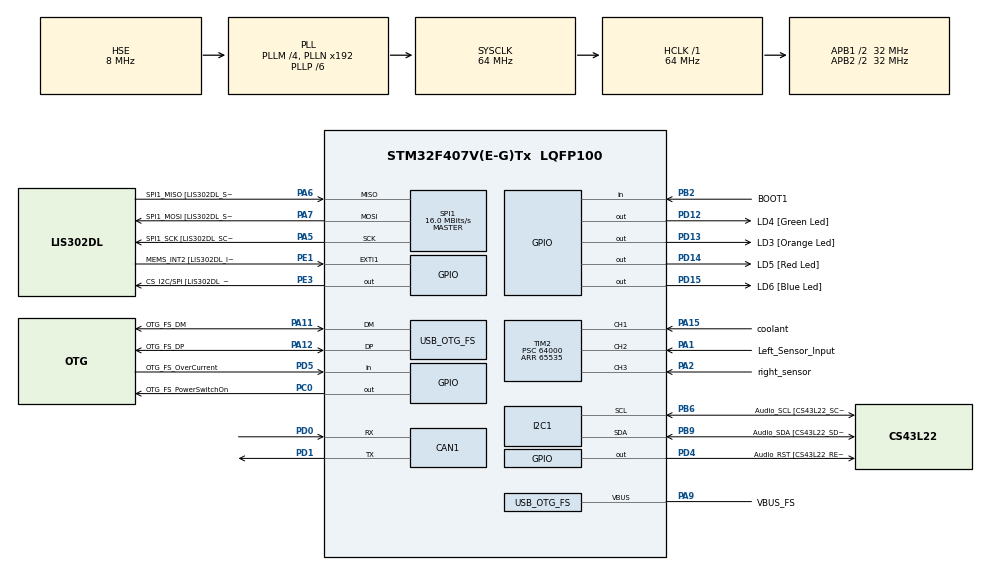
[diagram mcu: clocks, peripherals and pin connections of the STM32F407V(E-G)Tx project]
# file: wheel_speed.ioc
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CAN1.CalculateTimeQuantum=500.0
Mcu.Family=STM32F4
Mcu.Name=STM32F407V(E-G)Tx
Mcu.Package=LQFP100
NVIC.OTG_FS_IRQn=true\:0\:0\:false\:false\:true\:true
NVIC.PriorityGroup=NVIC_PRIORITYGROUP_0
NVIC.TIM2_IRQn=true\:0\:0\:false\:false\:true\:true
PA1.GPIO_Label=Left_Sensor_Input
PA1.GPIO_PuPd=GPIO_PULLUP
PA1.GPIO_Speed=GPIO_SPEED_FREQ_HIGH
PA1.Signal=S_TIM2_CH2
PA10.GPIO_Label=OTG_FS_ID
PA10.GPIO_Mode=GPIO_MODE_AF_PP
PA10.GPIO_PuPd=GPIO_NOPULL
PA10.GPIO_Speed=GPIO_SPEED_FREQ_LOW
PA10.Signal=USB_OTG_FS_ID
PA11.GPIO_Label=OTG_FS_DM
PA11.GPIO_Mode=GPIO_MODE_AF_PP
PA11.GPIO_PuPd=GPIO_NOPULL
PA11.GPIO_Speed=GPIO_SPEED_FREQ_LOW
PA11.Mode=Host_Only
PA11.Signal=USB_OTG_FS_DM
PA12.GPIO_Label=OTG_FS_DP
PA12.GPIO_Mode=GPIO_MODE_AF_PP
PA12.GPIO_PuPd=GPIO_NOPULL
PA12.GPIO_Speed=GPIO_SPEED_FREQ_LOW
PA12.Mode=Host_Only
PA12.Signal=USB_OTG_FS_DP
PA13.GPIO_Label=SWDIO
PA13.Mode=Serial_Wire
PA13.Signal=SYS_JTMS-SWDIO
PA14.GPIO_Label=SWCLK
PA14.Mode=Serial_Wire
PA14.Signal=SYS_JTCK-SWCLK
PA15.GPIO_Label=coolant
PA15.GPIO_PuPd=GPIO_PULLDOWN
PA15.GPIO_Speed=GPIO_SPEED_FREQ_HIGH
PA15.Signal=S_TIM2_CH1_ETR
PA2.GPIO_Label=right_sensor
PA2.GPIO_PuPd=GPIO_PULLUP
PA2.GPIO_Speed=GPIO_SPEED_FREQ_HIGH
PA2.Signal=S_TIM2_CH3
PA4.GPIO_Label=I2S3_WS [CS43L22_LRCK]
PA4.GPIO_Mode=GPIO_MODE_AF_PP
PA4.GPIO_PuPd=GPIO_NOPULL
PA4.GPIO_Speed=GPIO_SPEED_FREQ_LOW
PA4.Signal=I2S3_WS
PA5.GPIO_Label=SPI1_SCK [LIS302DL_SCL/SPC]
PA5.GPIO_Mode=GPIO_MODE_AF_PP
PA5.GPIO_PuPd=GPIO_NOPULL
PA5.GPIO_Speed=GPIO_SPEED_FREQ_LOW
PA5.Mode=Full_Duplex_Master
PA5.Signal=SPI1_SCK
PA6.GPIO_Label=SPI1_MISO [LIS302DL_SDO]
PA6.GPIO_Mode=GPIO_MODE_AF_PP
PA6.GPIO_PuPd=GPIO_NOPULL
PA6.GPIO_Speed=GPIO_SPEED_FREQ_LOW
PA6.Mode=Full_Duplex_Master
PA6.Signal=SPI1_MISO
PA7.GPIO_Label=SPI1_MOSI [LIS302DL_SDA/SDI/SDO]
PA7.GPIO_Mode=GPIO_MODE_AF_PP
PA7.GPIO_PuPd=GPIO_NOPULL
PA7.GPIO_Speed=GPIO_SPEED_FREQ_LOW
PA7.Mode=Full_Duplex_Master
PA7.Signal=SPI1_MOSI
PA9.GPIO_Label=VBUS_FS
PA9.GPIO_Mode=GPIO_MODE_INPUT
PA9.GPIO_PuPd=GPIO_NOPULL
PA9.Mode=Activate_VBUS
PA9.Signal=USB_OTG_FS_VBUS
PB10.GPIO_Label=CLK_IN [MP45DT02_CLK]
PB10.GPIO_Mode=GPIO_MODE_AF_PP
PB10.GPIO_PuPd=GPIO_NOPULL
PB10.GPIO_Speed=GPIO_SPEED_FREQ_LOW
PB10.Signal=I2S2_CK
PB2.GPIO_Label=BOOT1
PB2.GPIO_Mode=GPIO_MODE_INPUT
PB2.GPIO_PuPd=GPIO_NOPULL
PB2.Signal=GPIO_Input
PB3.GPIO_Label=SWO
PB3.Signal=SYS_JTDO-SWO
PB6.GPIO_Label=Audio_SCL [CS43L22_SCL]
PB6.GPIO_Mode=GPIO_MODE_AF_OD
PB6.GPIO_PuPd=GPIO_NOPULL
PB6.GPIO_Speed=GPIO_SPEED_FREQ_LOW
PB6.Mode=I2C
PB6.Signal=I2C1_SCL
PB9.GPIO_Label=Audio_SDA [CS43L22_SDA]
PB9.GPIO_Mode=GPIO_MODE_AF_OD
PB9.GPIO_PuPd=GPIO_NOPULL
PB9.GPIO_Speed=GPIO_SPEED_FREQ_LOW
PB9.Mode=I2C
PB9.Signal=I2C1_SDA
PC0.GPIO_Label=OTG_FS_PowerSwitchOn
PC0.GPIO_PuPd=GPIO_NOPULL
PC0.GPIO_Speed=GPIO_SPEED_FREQ_LOW
PC0.PinState=GPIO_PIN_SET
PC0.Signal=GPIO_Output
PC10.GPIO_Label=I2S3_SCK [CS43L22_SCLK]
PC10.GPIO_Mode=GPIO_MODE_AF_PP
PC10.GPIO_PuPd=GPIO_NOPULL
PC10.GPIO_Speed=GPIO_SPEED_FREQ_LOW
PC10.Signal=I2S3_CK
PC12.GPIO_Label=I2S3_SD [CS43L22_SDIN]
PC12.GPIO_Mode=GPIO_MODE_AF_PP
PC12.GPIO_PuPd=GPIO_NOPULL
PC12.GPIO_Speed=GPIO_SPEED_FREQ_LOW
PC12.Signal=I2S3_SD
PC14-OSC32_IN.GPIO_Label=PC14-OSC32_IN
PC14-OSC32_IN.Mode=LSE-External-Oscillator
PC14-OSC32_IN.Signal=RCC_OSC32_IN
PC15-OSC32_OUT.GPIO_Label=PC15-OSC32_OUT
PC15-OSC32_OUT.Mode=LSE-External-Oscillator
PC15-OSC32_OUT.Signal=RCC_OSC32_OUT
PC3.GPIO_Label=PDM_OUT [MP45DT02_DOUT]
PC3.GPIO_Mode=GPIO_MODE_AF_PP
PC3.GPIO_PuPd=GPIO_NOPULL
PC3.GPIO_Speed=GPIO_SPEED_FREQ_LOW
PC3.Signal=I2S2_SD
PC7.GPIO_Label=I2S3_MCK [CS43L22_MCLK]
PC7.GPIO_Mode=GPIO_MODE_AF_PP
PC7.GPIO_PuPd=GPIO_NOPULL
PC7.GPIO_Speed=GPIO_SPEED_FREQ_LOW
PC7.Signal=I2S3_MCK
PD0.Mode=Master
PD0.Signal=CAN1_RX
PD1.Mode=Master
PD1.Signal=CAN1_TX
PD12.GPIO_Label=LD4 [Green Led]
PD12.GPIO_PuPd=GPIO_NOPULL
PD12.GPIO_Speed=GPIO_SPEED_FREQ_LOW
PD12.Signal=GPIO_Output
PD13.GPIO_Label=LD3 [Orange Led]
PD13.GPIO_PuPd=GPIO_NOPULL
PD13.GPIO_Speed=GPIO_SPEED_FREQ_LOW
PD13.Signal=GPIO_Output
PD14.GPIO_Label=LD5 [Red Led]
PD14.GPIO_PuPd=GPIO_NOPULL
PD14.GPIO_Speed=GPIO_SPEED_FREQ_LOW
PD14.Signal=GPIO_Output
PD15.GPIO_Label=LD6 [Blue Led]
PD15.GPIO_PuPd=GPIO_NOPULL
PD15.GPIO_Speed=GPIO_SPEED_FREQ_LOW
PD15.Signal=GPIO_Output
PD4.GPIO_Label=Audio_RST [CS43L22_RESET]
PD4.GPIO_PuPd=GPIO_NOPULL
PD4.GPIO_Speed=GPIO_SPEED_FREQ_LOW
PD4.Signal=GPIO_Output
PD5.GPIO_Label=OTG_FS_OverCurrent
PD5.GPIO_Mode=GPIO_MODE_INPUT
PD5.GPIO_PuPd=GPIO_NOPULL
PD5.Signal=GPIO_Input
PE1.GPIO_Label=MEMS_INT2 [LIS302DL_INT2]
PE1.GPIO_ModeDefaultEXTI=GPIO_MODE_EVT_RISING
PE1.GPIO_PuPd=GPIO_NOPULL
PE1.Signal=GPXTI1
PE3.GPIO_Label=CS_I2C/SPI [LIS302DL_CS_I2C/SPI]
PE3.GPIO_PuPd=GPIO_NOPULL
PE3.GPIO_Speed=GPIO_SPEED_FREQ_LOW
PE3.Signal=GPIO_Output
PH0-OSC_IN.GPIO_Label=PH0-OSC_IN
PH0-OSC_IN.Mode=HSE-External-Oscillator
PH0-OSC_IN.Signal=RCC_OSC_IN
PH1-OSC_OUT.GPIO_Label=PH1-OSC_OUT
PH1-OSC_OUT.Mode=HSE-External-Oscillator
PH1-OSC_OUT.Signal=RCC_OSC_OUT
ProjectManager.HeapSize=0x200
ProjectManager.StackSize=0x400
ProjectManager.TargetToolchain=SW4STM32
RCC.48MHZClocksFreq_Value=48000000
RCC.AHBFreq_Value=64000000
RCC.APB1CLKDivider=RCC_HCLK_DIV2
RCC.APB1Freq_Value=32000000
RCC.APB1TimFreq_Value=64000000
RCC.APB2CLKDivider=RCC_HCLK_DIV2
RCC.APB2Freq_Value=32000000
RCC.APB2TimFreq_Value=64000000
RCC.CortexFreq_Value=64000000
RCC.HCLKFreq_Value=64000000
RCC.HSE_VALUE=8000000
RCC.HSI_VALUE=16000000
RCC.PLLI2SN=50
RCC.PLLM=4
RCC.PLLP=RCC_PLLP_DIV6
RCC.PLLQ=8
RCC.SYSCLKFreq_VALUE=64000000
RCC.SYSCLKSource=RCC_SYSCLKSOURCE_PLLCLK
RCC.VCOOutputFreq_Value=384000000
SH.S_TIM2_CH1_ETR.0=TIM2_CH1,Input_Capture1_from_TI1
SH.S_TIM2_CH2.0=TIM2_CH2,Input_Capture2_from_TI2
SH.S_TIM2_CH3.0=TIM2_CH3,Input_Capture3_from_TI3
SPI1.BaudRatePrescaler-Full_Duplex_Master=SPI_BAUDRATEPRESCALER_2
SPI1.CalculateBaudRate=16.0 MBits/s
SPI1.CalculateBaudRate-Full_Duplex_Master=42.0 MBits/s
SPI1.Direction=SPI_DIRECTION_2LINES
SPI1.Mode=SPI_MODE_MASTER
SPI1.Mode-Full_Duplex_Master=SPI_MODE_MASTER
SPI1.VirtualType=VM_MASTER
TIM2.Channel-Input_Capture1_from_TI1=TIM_CHANNEL_1
TIM2.Channel-Input_Capture2_from_TI2=TIM_CHANNEL_2
TIM2.Channel-Input_Capture3_from_TI3=TIM_CHANNEL_3
TIM2.ICPolarity_CH1=TIM_INPUTCHANNELPOLARITY_RISING
TIM2.ICPolarity_CH2=TIM_INPUTCHANNELPOLARITY_FALLING
TIM2.ICPolarity_CH3=TIM_INPUTCHANNELPOLARITY_FALLING
TIM2.Period=65535
TIM2.Prescaler=64000
USB_HOST.BSP.number=1
USB_HOST.USBH_HandleTypeDef-CDC_FS=hUsbHostFS
USB_HOST.VirtualModeFS=Cdc
USB_HOST0.BSP.STBoard=false
USB_HOST0.BSP.api=Unknown
USB_HOST0.BSP.i2caddr=0
USB_HOST0.BSP.i2creg=0
USB_HOST0.BSP.instance=PC0
USB_HOST0.BSP.ip=GPIO
USB_HOST0.BSP.mode=Output
USB_HOST0.BSP.name=Drive_VBUS_FS
USB_HOST0.BSP.solution=PC0
USB_OTG_FS.VirtualMode=Host_Only
USB_OTG_FS.phy_itface=HCD_PHY_EMBEDDED
VP_TIM2_VS_ClockSourceINT.Mode=Internal
VP_TIM2_VS_ControllerModeTrigger.Mode=Trigger Mode
VP_USB_HOST_VS_USB_HOST_CDC_FS.Mode=CDC_FS
board=STM32F4DISCOVERY

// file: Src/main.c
/**
  ******************************************************************************
  * @file           : main.c
  * @brief          : Main program body
  ******************************************************************************
  * This notice applies to any and all portions of this file
  * that are not between comment pairs USER CODE BEGIN and
  * USER CODE END. Other portions of this file, whether
  * inserted by the user or by software development tools
  * are owned by their respective copyright owners.
  *
  * Copyright (c) 2019 STMicroelectronics International N.V.
  * All rights reserved.
  *
  * Redistribution and use in source and binary forms, with or without
  * modification, are permitted, provided that the following conditions are met:
  *
  * 1. Redistribution of source code must retain the above copyright notice,
  *    this list of conditions and the following disclaimer.
  * 2. Redistributions in binary form must reproduce the above copyright notice,
  *    this list of conditions and the following disclaimer in the documentation
  *    and/or other materials provided with the distribution.
  * 3. Neither the name of STMicroelectronics nor the names of other
  *    contributors to this software may be used to endorse or promote products
  *    derived from this software without specific written permission.
  * 4. This software, including modifications and/or derivative works of this
  *    software, must execute solely and exclusively on microcontroller or
  *    microprocessor devices manufactured by or for STMicroelectronics.
  * 5. Redistribution and use of this software other than as permitted under
  *    this license is void and will automatically terminate your rights under
  *    this license.
  *
  * THIS SOFTWARE IS PROVIDED BY STMICROELECTRONICS AND CONTRIBUTORS "AS IS"
  * AND ANY EXPRESS, IMPLIED OR STATUTORY WARRANTIES, INCLUDING, BUT NOT
  * LIMITED TO, THE IMPLIED WARRANTIES OF MERCHANTABILITY, FITNESS FOR A
  * PARTICULAR PURPOSE AND NON-INFRINGEMENT OF THIRD PARTY INTELLECTUAL PROPERTY
  * RIGHTS ARE DISCLAIMED TO THE FULLEST EXTENT PERMITTED BY LAW. IN NO EVENT
  * SHALL STMICROELECTRONICS OR CONTRIBUTORS BE LIABLE FOR ANY DIRECT, INDIRECT,
  * INCIDENTAL, SPECIAL, EXEMPLARY, OR CONSEQUENTIAL DAMAGES (INCLUDING, BUT NOT
  * LIMITED TO, PROCUREMENT OF SUBSTITUTE GOODS OR SERVICES; LOSS OF USE, DATA,
  * OR PROFITS; OR BUSINESS INTERRUPTION) HOWEVER CAUSED AND ON ANY THEORY OF
  * LIABILITY, WHETHER IN CONTRACT, STRICT LIABILITY, OR TORT (INCLUDING
  * NEGLIGENCE OR OTHERWISE) ARISING IN ANY WAY OUT OF THE USE OF THIS SOFTWARE,
  * EVEN IF ADVISED OF THE POSSIBILITY OF SUCH DAMAGE.
  *
  ******************************************************************************
  */
#include "main.h"
#include "stm32f4xx_hal.h"
#include "usb_host.h"

/* USER CODE BEGIN Includes */
#include "hall_effect_sensors.h"
/* USER CODE END Includes */

CAN_HandleTypeDef hcan1;

I2C_HandleTypeDef hi2c1;

SPI_HandleTypeDef hspi1;

TIM_HandleTypeDef htim2;

/* USER CODE BEGIN PV */
/* Private variables ---------------------------------------------------------*/
hall_sensor g_left_wheel;
hall_sensor g_right_wheel;
hall_sensor g_c_flow;
float flow_rate = 0;
float left_speed = 0;
float right_speed = 0;
/* USER CODE END PV */

void SystemClock_Config(void);
static void MX_GPIO_Init(void);
static void MX_I2C1_Init(void);
static void MX_SPI1_Init(void);
static void MX_TIM2_Init(void);
static void MX_CAN1_Init(void);
void MX_USB_HOST_Process(void);

/* USER CODE BEGIN PFP */
/* Private function prototypes -----------------------------------------------*/

/* USER CODE END PFP */

int main(void)
{

  /* MCU Configuration----------------------------------------------------------*/

  /* Reset of all peripherals, Initializes the Flash interface and the Systick. */
  HAL_Init();

  /* Configure the system clock */
  SystemClock_Config();

  /* Initialize all configured peripherals */
  MX_GPIO_Init();
  MX_I2C1_Init();
  MX_SPI1_Init();
  MX_USB_HOST_Init();
  MX_TIM2_Init();
  MX_CAN1_Init();
  /* USER CODE BEGIN 2 */

  init(&g_left_wheel, &htim2, LEFT_WHEEL_CHANNEL);
  HAL_Delay(100);
  init(&g_right_wheel, &htim2, RIGHT_WHEEL_CHANNEL);
  HAL_Delay(100);
  init(&g_c_flow, &htim2, C_FLOW_CHANNEL);

  /* USER CODE END 2 */

  /* Infinite loop */
  /* USER CODE BEGIN WHILE */
  while (1)
  {
    flow_rate = (float)   g_c_flow.speed / SCALAR;
    left_speed = (float)  g_left_wheel.speed / SCALAR;
    right_speed = (float) g_right_wheel.speed / SCALAR;

    set_zero(&g_c_flow, FLOW_ZERO_DT);
    set_zero(&g_left_wheel, WHEEL_ZERO_DT);
    set_zero(&g_right_wheel, WHEEL_ZERO_DT);

  /* USER CODE END WHILE */
//    MX_USB_HOST_Process();

  /* USER CODE BEGIN 3 */
    HAL_GPIO_TogglePin(GPIOD, LD3_Pin);
    HAL_Delay(50);
    HAL_GPIO_TogglePin(GPIOD, LD5_Pin);
    HAL_Delay(50);
    HAL_GPIO_TogglePin(GPIOD, LD6_Pin);
    HAL_Delay(50);
    HAL_GPIO_TogglePin(GPIOD, LD4_Pin);
    HAL_Delay(50);
  }
  /* USER CODE END 3 */

}

void SystemClock_Config(void)
{

  RCC_OscInitTypeDef RCC_OscInitStruct;
  RCC_ClkInitTypeDef RCC_ClkInitStruct;

    /**Configure the main internal regulator output voltage
    */
  __HAL_RCC_PWR_CLK_ENABLE();

  __HAL_PWR_VOLTAGESCALING_CONFIG(PWR_REGULATOR_VOLTAGE_SCALE1);

    /**Initializes the CPU, AHB and APB busses clocks
    */
  RCC_OscInitStruct.OscillatorType = RCC_OSCILLATORTYPE_HSE;
  RCC_OscInitStruct.HSEState = RCC_HSE_ON;
  RCC_OscInitStruct.PLL.PLLState = RCC_PLL_ON;
  RCC_OscInitStruct.PLL.PLLSource = RCC_PLLSOURCE_HSE;
  RCC_OscInitStruct.PLL.PLLM = 4;
  RCC_OscInitStruct.PLL.PLLN = 192;
  RCC_OscInitStruct.PLL.PLLP = RCC_PLLP_DIV6;
  RCC_OscInitStruct.PLL.PLLQ = 8;
  if (HAL_RCC_OscConfig(&RCC_OscInitStruct) != HAL_OK)
  {
    _Error_Handler(__FILE__, __LINE__);
  }

    /**Initializes the CPU, AHB and APB busses clocks
    */
  RCC_ClkInitStruct.ClockType = RCC_CLOCKTYPE_HCLK|RCC_CLOCKTYPE_SYSCLK
                              |RCC_CLOCKTYPE_PCLK1|RCC_CLOCKTYPE_PCLK2;
  RCC_ClkInitStruct.SYSCLKSource = RCC_SYSCLKSOURCE_PLLCLK;
  RCC_ClkInitStruct.AHBCLKDivider = RCC_SYSCLK_DIV1;
  RCC_ClkInitStruct.APB1CLKDivider = RCC_HCLK_DIV2;
  RCC_ClkInitStruct.APB2CLKDivider = RCC_HCLK_DIV2;

  if (HAL_RCC_ClockConfig(&RCC_ClkInitStruct, FLASH_LATENCY_2) != HAL_OK)
  {
    _Error_Handler(__FILE__, __LINE__);
  }

    /**Configure the Systick interrupt time
    */
  HAL_SYSTICK_Config(HAL_RCC_GetHCLKFreq()/1000);

    /**Configure the Systick
    */
  HAL_SYSTICK_CLKSourceConfig(SYSTICK_CLKSOURCE_HCLK);

  /* SysTick_IRQn interrupt configuration */
  HAL_NVIC_SetPriority(SysTick_IRQn, 0, 0);
}

/* CAN1 init function */
static void MX_CAN1_Init(void)
{

  hcan1.Instance = CAN1;
  hcan1.Init.Prescaler = 16;
  hcan1.Init.Mode = CAN_MODE_NORMAL;
  hcan1.Init.SyncJumpWidth = CAN_SJW_1TQ;
  hcan1.Init.TimeSeg1 = CAN_BS1_1TQ;
  hcan1.Init.TimeSeg2 = CAN_BS2_1TQ;
  hcan1.Init.TimeTriggeredMode = DISABLE;
  hcan1.Init.AutoBusOff = DISABLE;
  hcan1.Init.AutoWakeUp = DISABLE;
  hcan1.Init.AutoRetransmission = DISABLE;
  hcan1.Init.ReceiveFifoLocked = DISABLE;
  hcan1.Init.TransmitFifoPriority = DISABLE;
  if (HAL_CAN_Init(&hcan1) != HAL_OK)
  {
    _Error_Handler(__FILE__, __LINE__);
  }

}

/* I2C1 init function */
static void MX_I2C1_Init(void)
{

  hi2c1.Instance = I2C1;
  hi2c1.Init.ClockSpeed = 100000;
  hi2c1.Init.DutyCycle = I2C_DUTYCYCLE_2;
  hi2c1.Init.OwnAddress1 = 0;
  hi2c1.Init.AddressingMode = I2C_ADDRESSINGMODE_7BIT;
  hi2c1.Init.DualAddressMode = I2C_DUALADDRESS_DISABLE;
  hi2c1.Init.OwnAddress2 = 0;
  hi2c1.Init.GeneralCallMode = I2C_GENERALCALL_DISABLE;
  hi2c1.Init.NoStretchMode = I2C_NOSTRETCH_DISABLE;
  if (HAL_I2C_Init(&hi2c1) != HAL_OK)
  {
    _Error_Handler(__FILE__, __LINE__);
  }

}

/* SPI1 init function */
static void MX_SPI1_Init(void)
{

  /* SPI1 parameter configuration*/
  hspi1.Instance = SPI1;
  hspi1.Init.Mode = SPI_MODE_MASTER;
  hspi1.Init.Direction = SPI_DIRECTION_2LINES;
  hspi1.Init.DataSize = SPI_DATASIZE_8BIT;
  hspi1.Init.CLKPolarity = SPI_POLARITY_LOW;
  hspi1.Init.CLKPhase = SPI_PHASE_1EDGE;
  hspi1.Init.NSS = SPI_NSS_SOFT;
  hspi1.Init.BaudRatePrescaler = SPI_BAUDRATEPRESCALER_2;
  hspi1.Init.FirstBit = SPI_FIRSTBIT_MSB;
  hspi1.Init.TIMode = SPI_TIMODE_DISABLE;
  hspi1.Init.CRCCalculation = SPI_CRCCALCULATION_DISABLE;
  hspi1.Init.CRCPolynomial = 10;
  if (HAL_SPI_Init(&hspi1) != HAL_OK)
  {
    _Error_Handler(__FILE__, __LINE__);
  }

}

/* TIM2 init function */
static void MX_TIM2_Init(void)
{

  TIM_ClockConfigTypeDef sClockSourceConfig;
  TIM_MasterConfigTypeDef sMasterConfig;
  TIM_IC_InitTypeDef sConfigIC;

  htim2.Instance = TIM2;
  htim2.Init.Prescaler = 64000;
  htim2.Init.CounterMode = TIM_COUNTERMODE_UP;
  htim2.Init.Period = 65535;
  htim2.Init.ClockDivision = TIM_CLOCKDIVISION_DIV1;
  if (HAL_TIM_Base_Init(&htim2) != HAL_OK)
  {
    _Error_Handler(__FILE__, __LINE__);
  }

  sClockSourceConfig.ClockSource = TIM_CLOCKSOURCE_INTERNAL;
  if (HAL_TIM_ConfigClockSource(&htim2, &sClockSourceConfig) != HAL_OK)
  {
    _Error_Handler(__FILE__, __LINE__);
  }

  if (HAL_TIM_IC_Init(&htim2) != HAL_OK)
  {
    _Error_Handler(__FILE__, __LINE__);
  }

  sMasterConfig.MasterOutputTrigger = TIM_TRGO_RESET;
  sMasterConfig.MasterSlaveMode = TIM_MASTERSLAVEMODE_DISABLE;
  if (HAL_TIMEx_MasterConfigSynchronization(&htim2, &sMasterConfig) != HAL_OK)
  {
    _Error_Handler(__FILE__, __LINE__);
  }

  sConfigIC.ICPolarity = TIM_INPUTCHANNELPOLARITY_RISING;
  sConfigIC.ICSelection = TIM_ICSELECTION_DIRECTTI;
  sConfigIC.ICPrescaler = TIM_ICPSC_DIV1;
  sConfigIC.ICFilter = 0;
  if (HAL_TIM_IC_ConfigChannel(&htim2, &sConfigIC, TIM_CHANNEL_1) != HAL_OK)
  {
    _Error_Handler(__FILE__, __LINE__);
  }

  sConfigIC.ICPolarity = TIM_INPUTCHANNELPOLARITY_FALLING;
  if (HAL_TIM_IC_ConfigChannel(&htim2, &sConfigIC, TIM_CHANNEL_2) != HAL_OK)
  {
    _Error_Handler(__FILE__, __LINE__);
  }

  if (HAL_TIM_IC_ConfigChannel(&htim2, &sConfigIC, TIM_CHANNEL_3) != HAL_OK)
  {
    _Error_Handler(__FILE__, __LINE__);
  }

}

/** Configure pins as
        * Analog
        * Input
        * Output
        * EVENT_OUT
        * EXTI
     PC3   ------> I2S2_SD
     PA4   ------> I2S3_WS
     PB10   ------> I2S2_CK
     PC7   ------> I2S3_MCK
     PC10   ------> I2S3_CK
     PC12   ------> I2S3_SD
*/
static void MX_GPIO_Init(void)
{

  GPIO_InitTypeDef GPIO_InitStruct;

  /* GPIO Ports Clock Enable */
  __HAL_RCC_GPIOE_CLK_ENABLE();
  __HAL_RCC_GPIOC_CLK_ENABLE();
  __HAL_RCC_GPIOH_CLK_ENABLE();
  __HAL_RCC_GPIOA_CLK_ENABLE();
  __HAL_RCC_GPIOB_CLK_ENABLE();
  __HAL_RCC_GPIOD_CLK_ENABLE();

  /*Configure GPIO pin Output Level */
  HAL_GPIO_WritePin(CS_I2C_SPI_GPIO_Port, CS_I2C_SPI_Pin, GPIO_PIN_RESET);

  /*Configure GPIO pin Output Level */
  HAL_GPIO_WritePin(OTG_FS_PowerSwitchOn_GPIO_Port, OTG_FS_PowerSwitchOn_Pin, GPIO_PIN_SET);

  /*Configure GPIO pin Output Level */
  HAL_GPIO_WritePin(GPIOD, LD4_Pin|LD3_Pin|LD5_Pin|LD6_Pin
                          |Audio_RST_Pin, GPIO_PIN_RESET);

  /*Configure GPIO pin : CS_I2C_SPI_Pin */
  GPIO_InitStruct.Pin = CS_I2C_SPI_Pin;
  GPIO_InitStruct.Mode = GPIO_MODE_OUTPUT_PP;
  GPIO_InitStruct.Pull = GPIO_NOPULL;
  GPIO_InitStruct.Speed = GPIO_SPEED_FREQ_LOW;
  HAL_GPIO_Init(CS_I2C_SPI_GPIO_Port, &GPIO_InitStruct);

  /*Configure GPIO pin : OTG_FS_PowerSwitchOn_Pin */
  GPIO_InitStruct.Pin = OTG_FS_PowerSwitchOn_Pin;
  GPIO_InitStruct.Mode = GPIO_MODE_OUTPUT_PP;
  GPIO_InitStruct.Pull = GPIO_NOPULL;
  GPIO_InitStruct.Speed = GPIO_SPEED_FREQ_LOW;
  HAL_GPIO_Init(OTG_FS_PowerSwitchOn_GPIO_Port, &GPIO_InitStruct);

  /*Configure GPIO pin : PDM_OUT_Pin */
  GPIO_InitStruct.Pin = PDM_OUT_Pin;
  GPIO_InitStruct.Mode = GPIO_MODE_AF_PP;
  GPIO_InitStruct.Pull = GPIO_NOPULL;
  GPIO_InitStruct.Speed = GPIO_SPEED_FREQ_LOW;
  GPIO_InitStruct.Alternate = GPIO_AF5_SPI2;
  HAL_GPIO_Init(PDM_OUT_GPIO_Port, &GPIO_InitStruct);

  /*Configure GPIO pin : I2S3_WS_Pin */
  GPIO_InitStruct.Pin = I2S3_WS_Pin;
  GPIO_InitStruct.Mode = GPIO_MODE_AF_PP;
  GPIO_InitStruct.Pull = GPIO_NOPULL;
  GPIO_InitStruct.Speed = GPIO_SPEED_FREQ_LOW;
  GPIO_InitStruct.Alternate = GPIO_AF6_SPI3;
  HAL_GPIO_Init(I2S3_WS_GPIO_Port, &GPIO_InitStruct);

  /*Configure GPIO pin : BOOT1_Pin */
  GPIO_InitStruct.Pin = BOOT1_Pin;
  GPIO_InitStruct.Mode = GPIO_MODE_INPUT;
  GPIO_InitStruct.Pull = GPIO_NOPULL;
  HAL_GPIO_Init(BOOT1_GPIO_Port, &GPIO_InitStruct);

  /*Configure GPIO pin : CLK_IN_Pin */
  GPIO_InitStruct.Pin = CLK_IN_Pin;
  GPIO_InitStruct.Mode = GPIO_MODE_AF_PP;
  GPIO_InitStruct.Pull = GPIO_NOPULL;
  GPIO_InitStruct.Speed = GPIO_SPEED_FREQ_LOW;
  GPIO_InitStruct.Alternate = GPIO_AF5_SPI2;
  HAL_GPIO_Init(CLK_IN_GPIO_Port, &GPIO_InitStruct);

  /*Configure GPIO pins : LD4_Pin LD3_Pin LD5_Pin LD6_Pin
                           Audio_RST_Pin */
  GPIO_InitStruct.Pin = LD4_Pin|LD3_Pin|LD5_Pin|LD6_Pin
                          |Audio_RST_Pin;
  GPIO_InitStruct.Mode = GPIO_MODE_OUTPUT_PP;
  GPIO_InitStruct.Pull = GPIO_NOPULL;
  GPIO_InitStruct.Speed = GPIO_SPEED_FREQ_LOW;
  HAL_GPIO_Init(GPIOD, &GPIO_InitStruct);

  /*Configure GPIO pins : I2S3_MCK_Pin I2S3_SCK_Pin I2S3_SD_Pin */
  GPIO_InitStruct.Pin = I2S3_MCK_Pin|I2S3_SCK_Pin|I2S3_SD_Pin;
  GPIO_InitStruct.Mode = GPIO_MODE_AF_PP;
  GPIO_InitStruct.Pull = GPIO_NOPULL;
  GPIO_InitStruct.Speed = GPIO_SPEED_FREQ_LOW;
  GPIO_InitStruct.Alternate = GPIO_AF6_SPI3;
  HAL_GPIO_Init(GPIOC, &GPIO_InitStruct);

  /*Configure GPIO pin : OTG_FS_OverCurrent_Pin */
  GPIO_InitStruct.Pin = OTG_FS_OverCurrent_Pin;
  GPIO_InitStruct.Mode = GPIO_MODE_INPUT;
  GPIO_InitStruct.Pull = GPIO_NOPULL;
  HAL_GPIO_Init(OTG_FS_OverCurrent_GPIO_Port, &GPIO_InitStruct);

  /*Configure GPIO pin : MEMS_INT2_Pin */
  GPIO_InitStruct.Pin = MEMS_INT2_Pin;
  GPIO_InitStruct.Mode = GPIO_MODE_EVT_RISING;
  GPIO_InitStruct.Pull = GPIO_NOPULL;
  HAL_GPIO_Init(MEMS_INT2_GPIO_Port, &GPIO_InitStruct);

}

void _Error_Handler(char *file, int line)
{
  while(1)
  {
  }
}

/************************ (C) COPYRIGHT STMicroelectronics *****END OF FILE****/
